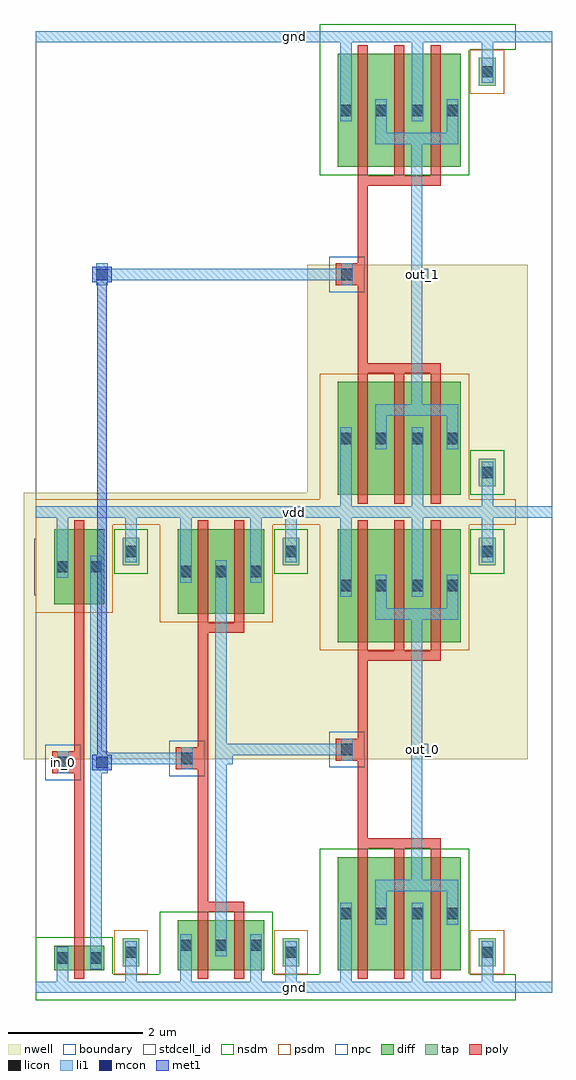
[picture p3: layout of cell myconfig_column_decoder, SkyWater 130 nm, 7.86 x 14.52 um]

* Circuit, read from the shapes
.subckt myconfig_column_decoder gnd in_0 out_0 out_1 vdd
XM1 myconfig_pinvbuf_0/myconfig_pinv_0_1/A in_0 gnd gnd sky130_fd_pr__nfet_01v8 w=0.36 l=0.15
XM2 myconfig_pinvbuf_0/myconfig_pinv_1_2/A myconfig_pinvbuf_0/myconfig_pinv_0_1/A gnd gnd sky130_fd_pr__nfet_01v8 w=0.74 l=0.15 m=2
XM3 out_0 myconfig_pinvbuf_0/myconfig_pinv_1_2/A gnd gnd sky130_fd_pr__nfet_01v8 w=1.68 l=0.15 m=3
XM4 out_1 myconfig_pinvbuf_0/myconfig_pinv_0_1/A gnd gnd sky130_fd_pr__nfet_01v8 w=1.68 l=0.15 m=3
XM5 myconfig_pinvbuf_0/myconfig_pinv_0_1/A in_0 vdd vdd sky130_fd_pr__pfet_01v8 w=1.12 l=0.15
XM6 myconfig_pinvbuf_0/myconfig_pinv_1_2/A myconfig_pinvbuf_0/myconfig_pinv_0_1/A vdd vdd sky130_fd_pr__pfet_01v8 w=1.26 l=0.15 m=2
XM7 out_0 myconfig_pinvbuf_0/myconfig_pinv_1_2/A vdd vdd sky130_fd_pr__pfet_01v8 w=1.68 l=0.15 m=3
XM8 out_1 myconfig_pinvbuf_0/myconfig_pinv_0_1/A vdd vdd sky130_fd_pr__pfet_01v8 w=1.68 l=0.15 m=3
.ends

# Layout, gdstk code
import gdstk
lib = gdstk.Library(unit=1e-6, precision=1e-09)
def R(c, l, rs):  # rectangles x0, y0, x1, y1
    for r in rs: c.add(gdstk.rectangle(r[:2], r[2:], *l))
def A(c, l, x, y, w, h, nx, ny, dx, dy):  # array of equal rectangles
    R(c, l, [(x+i*dx, y+j*dy, x+i*dx+w, y+j*dy+h) for i in range(nx) for j in range(ny)])
nwell = (64, 20)
diff = (65, 20)
tap = (65, 44)
poly = (66, 20)
licon = (66, 44)
li1 = (67, 20)
mcon = (67, 44)
met1 = (68, 20)
stdcell_id = (81, 4)
nsdm = (93, 44)
psdm = (94, 20)
npc = (95, 20)
boundary = (235, 4)

myconfig_contact_11 = lib.new_cell('myconfig_contact_11')
R(myconfig_contact_11, nwell, [(-0.295,-0.255,0.545,0.585)])
R(myconfig_contact_11, diff, [(0,0.02,0.25,0.31)])
R(myconfig_contact_11, licon, [(0.04,0.08,0.21,0.25)])
R(myconfig_contact_11, li1, [(0.04,0,0.21,0.33)])
R(myconfig_contact_11, stdcell_id, [(-0.295,-0.255,0.545,0.585)])
R(myconfig_contact_11, psdm, [(-0.125,-0.105,0.375,0.435)])
R(myconfig_contact_11, boundary, [(-0.295,-0.255,0.545,0.585)])

myconfig_pmos_m1_w1_120_ = lib.new_cell('myconfig_pmos_m1_w1_120_sli_dli_da_p')
R(myconfig_pmos_m1_w1_120_, nwell, [(-0.27,-0.27,1.02,1.39)])
R(myconfig_pmos_m1_w1_120_, diff, [(0,0,0.75,1.12)])
R(myconfig_pmos_m1_w1_120_, poly, [(0.3,-0.13,0.45,1.25), (0.3,-0.13,0.45,1.25)])
R(myconfig_pmos_m1_w1_120_, li1, [(0.04,0.395,0.21,0.725), (0.54,0.395,0.71,0.725)])
R(myconfig_pmos_m1_w1_120_, stdcell_id, [(-0.27,-0.27,1.02,1.39)])
R(myconfig_pmos_m1_w1_120_, psdm, [(-0.125,-0.125,0.875,1.245)])
R(myconfig_pmos_m1_w1_120_, boundary, [(-0.27,-0.27,1.02,1.39)])
myconfig_pmos_m1_w1_120_.add(gdstk.Reference(myconfig_contact_11, (0,0.395)))
myconfig_pmos_m1_w1_120_.add(gdstk.Reference(myconfig_contact_11, (0.5,0.395)))
myconfig_pmos_m1_w1_120_.add(gdstk.Label('G', (0.375,0.56), layer=66, texttype=5))
myconfig_pmos_m1_w1_120_.add(gdstk.Label('S', (0.125,0.56), layer=67, texttype=5))
myconfig_pmos_m1_w1_120_.add(gdstk.Label('D', (0.625,0.56), layer=67, texttype=5))

myconfig_contact_10 = lib.new_cell('myconfig_contact_10')
R(myconfig_contact_10, diff, [(0,0.02,0.25,0.31)])
R(myconfig_contact_10, licon, [(0.04,0.08,0.21,0.25)])
R(myconfig_contact_10, li1, [(0.04,0,0.21,0.33)])
R(myconfig_contact_10, stdcell_id, [(-0.125,-0.105,0.375,0.435)])
R(myconfig_contact_10, nsdm, [(-0.125,-0.105,0.375,0.435)])
R(myconfig_contact_10, boundary, [(-0.125,-0.105,0.375,0.435)])

myconfig_nmos_m1_w0_360_ = lib.new_cell('myconfig_nmos_m1_w0_360_sli_dli_da_p')
R(myconfig_nmos_m1_w0_360_, diff, [(0,0,0.75,0.36)])
R(myconfig_nmos_m1_w0_360_, poly, [(0.3,-0.13,0.45,0.49), (0.3,-0.13,0.45,0.49)])
R(myconfig_nmos_m1_w0_360_, li1, [(0.04,0.015,0.21,0.345), (0.54,0.015,0.71,0.345)])
R(myconfig_nmos_m1_w0_360_, stdcell_id, [(-0.125,-0.13,0.875,0.49)])
R(myconfig_nmos_m1_w0_360_, nsdm, [(-0.125,-0.125,0.875,0.485)])
R(myconfig_nmos_m1_w0_360_, boundary, [(-0.125,-0.13,0.875,0.49)])
myconfig_nmos_m1_w0_360_.add(gdstk.Reference(myconfig_contact_10, (0,0.015)))
myconfig_nmos_m1_w0_360_.add(gdstk.Reference(myconfig_contact_10, (0.5,0.015)))
myconfig_nmos_m1_w0_360_.add(gdstk.Label('G', (0.375,0.18), layer=66, texttype=5))
myconfig_nmos_m1_w0_360_.add(gdstk.Label('S', (0.125,0.18), layer=67, texttype=5))
myconfig_nmos_m1_w0_360_.add(gdstk.Label('D', (0.625,0.18), layer=67, texttype=5))

myconfig_contact_28 = lib.new_cell('myconfig_contact_28')
R(myconfig_contact_28, nwell, [(-0.295,-0.215,0.545,0.625)])
R(myconfig_contact_28, tap, [(0,0,0.25,0.41)])
R(myconfig_contact_28, licon, [(0.04,0.12,0.21,0.29)])
R(myconfig_contact_28, li1, [(0.04,0.04,0.21,0.37)])
R(myconfig_contact_28, stdcell_id, [(-0.295,-0.215,0.545,0.625)])
R(myconfig_contact_28, nsdm, [(-0.125,-0.125,0.375,0.535)])
R(myconfig_contact_28, boundary, [(-0.295,-0.215,0.545,0.625)])

myconfig_contact_29 = lib.new_cell('myconfig_contact_29')
R(myconfig_contact_29, tap, [(0,0,0.25,0.41)])
R(myconfig_contact_29, licon, [(0.04,0.12,0.21,0.29)])
R(myconfig_contact_29, li1, [(0.04,0.04,0.21,0.37)])
R(myconfig_contact_29, stdcell_id, [(-0.125,-0.125,0.375,0.535)])
R(myconfig_contact_29, psdm, [(-0.125,-0.125,0.375,0.535)])
R(myconfig_contact_29, boundary, [(-0.125,-0.125,0.375,0.535)])

myconfig_contact_15 = lib.new_cell('myconfig_contact_15')
R(myconfig_contact_15, poly, [(0,0,0.33,0.33)])
R(myconfig_contact_15, licon, [(0.08,0.08,0.25,0.25)])
R(myconfig_contact_15, li1, [(0.08,0,0.25,0.33)])
R(myconfig_contact_15, stdcell_id, [(-0.1,-0.1,0.43,0.43)])
R(myconfig_contact_15, npc, [(-0.1,-0.1,0.43,0.43)])
R(myconfig_contact_15, boundary, [(-0.1,-0.1,0.43,0.43)])

myconfig_pinv = lib.new_cell('myconfig_pinv')
R(myconfig_pinv, nwell, [(-0.18,3.395,2.02,7.355)])
R(myconfig_pinv, poly, [(0.57,0.745,0.72,5.565), (0.405,3.18,0.57,3.51)])
R(myconfig_pinv, li1, [(0,-0.085,1.84,0.085), (0.31,-0.085,0.48,0.27), (1.33,0,1.5,0.52), (0.81,0.27,0.98,6.42), (0.32,3.18,0.49,3.51), (0.895,3.26,1.065,3.43), (0.31,6.09,0.48,7.155), (1.33,6.485,1.5,7.07), (0,6.985,1.84,7.155)])
R(myconfig_pinv, stdcell_id, [(0,0,1.84,7.07), (0,0,1.84,7.07)])
R(myconfig_pinv, nsdm, [(0,-0.19,1.84,0.19), (0,0,1.145,0.74)])
R(myconfig_pinv, psdm, [(0,5.57,1.145,7.07), (0,6.88,1.84,7.26)])
R(myconfig_pinv, boundary, [(0,0,1.84,7.07), (0,0,1.84,7.07)])
myconfig_pinv.add(gdstk.Reference(myconfig_pmos_m1_w1_120_, (0.27,5.695)))
myconfig_pinv.add(gdstk.Reference(myconfig_nmos_m1_w0_360_, (0.27,0.255)))
myconfig_pinv.add(gdstk.Reference(myconfig_contact_28, (1.29,6.28)))
myconfig_pinv.add(gdstk.Reference(myconfig_contact_29, (1.29,0.315)))
myconfig_pinv.add(gdstk.Reference(myconfig_contact_15, (0.24,3.18)))
myconfig_pinv.add(gdstk.Label('A', (0.405,3.345), layer=67, texttype=5))
myconfig_pinv.add(gdstk.Label('Z', (0.98,3.345), layer=67, texttype=5))
myconfig_pinv.add(gdstk.Label('gnd', (0.92,0), layer=67, texttype=5))
myconfig_pinv.add(gdstk.Label('vdd', (0.92,7.07), layer=67, texttype=5))

myconfig_pmos_m2_w1_260_ = lib.new_cell('myconfig_pmos_m2_w1_260_sli_dli_da_p')
R(myconfig_pmos_m2_w1_260_, nwell, [(-0.27,-0.27,1.56,1.53)])
R(myconfig_pmos_m2_w1_260_, diff, [(0,0,1.29,1.26)])
R(myconfig_pmos_m2_w1_260_, poly, [(0.3,-0.28,0.99,-0.13), (0.3,-0.13,0.45,1.39), (0.84,-0.13,0.99,1.39)])
A(myconfig_pmos_m2_w1_260_, li1, 0.04, 0.465, 0.17, 0.33, 3, 1, 0.52, 0)
R(myconfig_pmos_m2_w1_260_, stdcell_id, [(-0.27,-0.28,1.56,1.53)])
R(myconfig_pmos_m2_w1_260_, psdm, [(-0.125,-0.125,1.415,1.385)])
R(myconfig_pmos_m2_w1_260_, boundary, [(-0.27,-0.28,1.56,1.53)])
myconfig_pmos_m2_w1_260_.add(gdstk.Reference(myconfig_contact_11, (0,0.465)))
myconfig_pmos_m2_w1_260_.add(gdstk.Reference(myconfig_contact_11, (0.52,0.465)))
myconfig_pmos_m2_w1_260_.add(gdstk.Reference(myconfig_contact_11, (1.04,0.465)))
myconfig_pmos_m2_w1_260_.add(gdstk.Label('G', (0.645,-0.205), layer=66, texttype=5))
myconfig_pmos_m2_w1_260_.add(gdstk.Label('S', (1.165,0.63), layer=67, texttype=5))
myconfig_pmos_m2_w1_260_.add(gdstk.Label('S', (0.125,0.63), layer=67, texttype=5))
myconfig_pmos_m2_w1_260_.add(gdstk.Label('D', (0.645,0.63), layer=67, texttype=5))

myconfig_nmos_m2_w0_740_ = lib.new_cell('myconfig_nmos_m2_w0_740_sli_dli_da_p')
R(myconfig_nmos_m2_w0_740_, diff, [(0,0,1.29,0.74)])
R(myconfig_nmos_m2_w0_740_, poly, [(0.3,-0.13,0.45,0.87), (0.84,-0.13,0.99,0.87), (0.3,0.87,0.99,1.02)])
A(myconfig_nmos_m2_w0_740_, li1, 0.04, 0.205, 0.17, 0.33, 3, 1, 0.52, 0)
R(myconfig_nmos_m2_w0_740_, stdcell_id, [(-0.125,-0.13,1.415,1.02)])
R(myconfig_nmos_m2_w0_740_, nsdm, [(-0.125,-0.125,1.415,0.865)])
R(myconfig_nmos_m2_w0_740_, boundary, [(-0.125,-0.13,1.415,1.02)])
myconfig_nmos_m2_w0_740_.add(gdstk.Reference(myconfig_contact_10, (0,0.205)))
myconfig_nmos_m2_w0_740_.add(gdstk.Reference(myconfig_contact_10, (0.52,0.205)))
myconfig_nmos_m2_w0_740_.add(gdstk.Reference(myconfig_contact_10, (1.04,0.205)))
myconfig_nmos_m2_w0_740_.add(gdstk.Label('G', (0.645,0.945), layer=66, texttype=5))
myconfig_nmos_m2_w0_740_.add(gdstk.Label('S', (0.125,0.37), layer=67, texttype=5))
myconfig_nmos_m2_w0_740_.add(gdstk.Label('S', (1.165,0.37), layer=67, texttype=5))
myconfig_nmos_m2_w0_740_.add(gdstk.Label('D', (0.645,0.37), layer=67, texttype=5))

myconfig_pinv_0 = lib.new_cell('myconfig_pinv_0')
R(myconfig_pinv_0, nwell, [(-0.18,3.395,2.56,7.355)])
R(myconfig_pinv_0, poly, [(0.57,1.275,0.72,5.275), (0.405,3.24,0.57,3.57)])
R(myconfig_pinv_0, li1, [(0,-0.085,2.38,0.085), (0.31,-0.085,0.48,0.46), (1.35,-0.085,1.52,0.46), (1.87,0,2.04,0.52), (0.83,0.46,1,6.35), (0.32,3.24,0.49,3.57), (0.915,3.32,1.085,3.49), (0.31,6.02,0.48,7.155), (1.35,6.02,1.52,7.155), (1.87,6.485,2.04,7.07), (0,6.985,2.38,7.155)])
R(myconfig_pinv_0, stdcell_id, [(0,0,2.38,7.07), (0,0,2.38,7.07)])
R(myconfig_pinv_0, nsdm, [(0,-0.19,2.38,0.19), (0,0,1.685,1.12)])
R(myconfig_pinv_0, psdm, [(0,5.43,1.685,7.07), (0,6.88,2.38,7.26)])
R(myconfig_pinv_0, boundary, [(0,0,2.38,7.07), (0,0,2.38,7.07)])
myconfig_pinv_0.add(gdstk.Reference(myconfig_pmos_m2_w1_260_, (0.27,5.555)))
myconfig_pinv_0.add(gdstk.Reference(myconfig_nmos_m2_w0_740_, (0.27,0.255)))
myconfig_pinv_0.add(gdstk.Reference(myconfig_contact_28, (1.83,6.28)))
myconfig_pinv_0.add(gdstk.Reference(myconfig_contact_29, (1.83,0.315)))
myconfig_pinv_0.add(gdstk.Reference(myconfig_contact_15, (0.24,3.24)))
myconfig_pinv_0.add(gdstk.Label('A', (0.405,3.405), layer=67, texttype=5))
myconfig_pinv_0.add(gdstk.Label('Z', (1,3.405), layer=67, texttype=5))
myconfig_pinv_0.add(gdstk.Label('gnd', (1.19,0), layer=67, texttype=5))
myconfig_pinv_0.add(gdstk.Label('vdd', (1.19,7.07), layer=67, texttype=5))

myconfig_pmos_m3_w1_680_ = lib.new_cell('myconfig_pmos_m3_w1_680_sli_dli_da_p')
R(myconfig_pmos_m3_w1_680_, nwell, [(-0.27,-0.27,2.1,1.95)])
R(myconfig_pmos_m3_w1_680_, diff, [(0,0,1.83,1.68)])
A(myconfig_pmos_m3_w1_680_, poly, 0.3, -0.13, 0.15, 1.94, 3, 1, 0.54, 0)
R(myconfig_pmos_m3_w1_680_, poly, [(0.3,-0.28,1.53,-0.13)])
R(myconfig_pmos_m3_w1_680_, li1, [(0.56,0.335,1.79,0.505), (0.56,0.42,0.73,0.84), (1.62,0.42,1.79,0.84), (0.04,0.675,0.21,1.005), (1.1,0.675,1.27,1.005)])
R(myconfig_pmos_m3_w1_680_, stdcell_id, [(-0.27,-0.28,2.1,1.95)])
R(myconfig_pmos_m3_w1_680_, psdm, [(-0.125,-0.125,1.955,1.805)])
R(myconfig_pmos_m3_w1_680_, boundary, [(-0.27,-0.28,2.1,1.95)])
myconfig_pmos_m3_w1_680_.add(gdstk.Reference(myconfig_contact_11, (0,0.675)))
myconfig_pmos_m3_w1_680_.add(gdstk.Reference(myconfig_contact_11, (0.52,0.675)))
myconfig_pmos_m3_w1_680_.add(gdstk.Reference(myconfig_contact_11, (1.06,0.675)))
myconfig_pmos_m3_w1_680_.add(gdstk.Reference(myconfig_contact_11, (1.58,0.675)))
myconfig_pmos_m3_w1_680_.add(gdstk.Label('G', (0.915,-0.205), layer=66, texttype=5))
myconfig_pmos_m3_w1_680_.add(gdstk.Label('S', (0.125,0.84), layer=67, texttype=5))
myconfig_pmos_m3_w1_680_.add(gdstk.Label('S', (1.185,0.84), layer=67, texttype=5))
myconfig_pmos_m3_w1_680_.add(gdstk.Label('D', (1.175,0.42), layer=67, texttype=5))

myconfig_nmos_m3_w1_680_ = lib.new_cell('myconfig_nmos_m3_w1_680_sli_dli_da_p')
R(myconfig_nmos_m3_w1_680_, diff, [(0,0,1.83,1.68)])
A(myconfig_nmos_m3_w1_680_, poly, 0.3, -0.13, 0.15, 1.94, 3, 1, 0.54, 0)
R(myconfig_nmos_m3_w1_680_, poly, [(0.3,1.81,1.53,1.96)])
R(myconfig_nmos_m3_w1_680_, li1, [(0.04,0.675,0.21,1.005), (1.1,0.675,1.27,1.005), (0.56,0.84,0.73,1.26), (1.62,0.84,1.79,1.26), (0.56,1.175,1.79,1.345)])
R(myconfig_nmos_m3_w1_680_, stdcell_id, [(-0.125,-0.13,1.955,1.96)])
R(myconfig_nmos_m3_w1_680_, nsdm, [(-0.125,-0.125,1.955,1.805)])
R(myconfig_nmos_m3_w1_680_, boundary, [(-0.125,-0.13,1.955,1.96)])
myconfig_nmos_m3_w1_680_.add(gdstk.Reference(myconfig_contact_10, (0,0.675)))
myconfig_nmos_m3_w1_680_.add(gdstk.Reference(myconfig_contact_10, (0.52,0.675)))
myconfig_nmos_m3_w1_680_.add(gdstk.Reference(myconfig_contact_10, (1.06,0.675)))
myconfig_nmos_m3_w1_680_.add(gdstk.Reference(myconfig_contact_10, (1.58,0.675)))
myconfig_nmos_m3_w1_680_.add(gdstk.Label('G', (0.915,1.885), layer=66, texttype=5))
myconfig_nmos_m3_w1_680_.add(gdstk.Label('S', (0.125,0.84), layer=67, texttype=5))
myconfig_nmos_m3_w1_680_.add(gdstk.Label('S', (1.185,0.84), layer=67, texttype=5))
myconfig_nmos_m3_w1_680_.add(gdstk.Label('D', (1.175,1.26), layer=67, texttype=5))

myconfig_pinv_1 = lib.new_cell('myconfig_pinv_1')
R(myconfig_pinv_1, nwell, [(-0.18,3.395,3.1,7.355)])
R(myconfig_pinv_1, poly, [(0.57,2.215,0.72,4.855), (0.405,3.37,0.57,3.7)])
R(myconfig_pinv_1, li1, [(0,-0.085,2.92,0.085), (0.31,-0.085,0.48,0.93), (1.37,-0.085,1.54,0.93), (2.41,0,2.58,0.52), (1.36,1.43,1.53,5.64), (0.32,3.37,0.49,3.7), (1.445,3.45,1.615,3.62), (0.31,5.81,0.48,7.155), (1.37,5.81,1.54,7.155), (2.41,6.485,2.58,7.07), (0,6.985,2.92,7.155)])
R(myconfig_pinv_1, stdcell_id, [(0,0,2.92,7.07), (0,0,2.92,7.07)])
R(myconfig_pinv_1, nsdm, [(0,-0.19,2.92,0.19), (0,0,2.225,2.06)])
R(myconfig_pinv_1, psdm, [(0,5.01,2.225,7.07), (0,6.88,2.92,7.26)])
R(myconfig_pinv_1, boundary, [(0,0,2.92,7.07), (0,0,2.92,7.07)])
myconfig_pinv_1.add(gdstk.Reference(myconfig_pmos_m3_w1_680_, (0.27,5.135)))
myconfig_pinv_1.add(gdstk.Reference(myconfig_nmos_m3_w1_680_, (0.27,0.255)))
myconfig_pinv_1.add(gdstk.Reference(myconfig_contact_28, (2.37,6.28)))
myconfig_pinv_1.add(gdstk.Reference(myconfig_contact_29, (2.37,0.315)))
myconfig_pinv_1.add(gdstk.Reference(myconfig_contact_15, (0.24,3.37)))
myconfig_pinv_1.add(gdstk.Label('A', (0.405,3.535), layer=67, texttype=5))
myconfig_pinv_1.add(gdstk.Label('Z', (1.53,3.535), layer=67, texttype=5))
myconfig_pinv_1.add(gdstk.Label('gnd', (1.46,0), layer=67, texttype=5))
myconfig_pinv_1.add(gdstk.Label('vdd', (1.46,7.07), layer=67, texttype=5))

myconfig_contact_13 = lib.new_cell('myconfig_contact_13')
R(myconfig_contact_13, li1, [(0.06,0,0.23,0.33)])
R(myconfig_contact_13, mcon, [(0.06,0.08,0.23,0.25)])
R(myconfig_contact_13, met1, [(0,0.05,0.29,0.28)])
R(myconfig_contact_13, stdcell_id, [(0,0,0.29,0.33)])
R(myconfig_contact_13, boundary, [(0,0,0.29,0.33)])

myconfig_pinvbuf = lib.new_cell('myconfig_pinvbuf')
A(myconfig_pinvbuf, li1, 0, 0, 7.68, 0.17, 1, 3, 0, 7.07)
R(myconfig_pinvbuf, li1, [(0.32,3.345,0.49,3.515), (0.895,3.405,1.065,3.575), (0.98,3.405,2.245,3.575), (2.16,3.405,2.33,3.575), (0.895,3.43,1.065,3.49), (2.755,3.49,2.925,3.62), (2.755,3.535,2.925,3.705), (2.84,3.535,4.625,3.705), (4.54,3.535,4.71,3.705), (5.665,3.535,5.835,3.705), (0.98,10.605,4.625,10.775), (5.665,10.605,5.835,10.775)])
R(myconfig_pinvbuf, met1, [(0.91,3.43,1.05,10.69)])
R(myconfig_pinvbuf, stdcell_id, [(0,0,7.68,14.14), (0,0.085,7.68,14.225)])
R(myconfig_pinvbuf, boundary, [(0,0,7.68,14.14), (0,0.085,7.68,14.225)])
myconfig_pinvbuf.add(gdstk.Reference(myconfig_pinv, (0,0.085)))
myconfig_pinvbuf.add(gdstk.Reference(myconfig_pinv_0, (1.84,0.085)))
myconfig_pinvbuf.add(gdstk.Reference(myconfig_pinv_1, (4.22,0.085)))
myconfig_pinvbuf.add(gdstk.Reference(myconfig_pinv_1, (4.22,14.225), x_reflection=True))
myconfig_pinvbuf.add(gdstk.Reference(myconfig_contact_13, (0.835,10.525)))
myconfig_pinvbuf.add(gdstk.Reference(myconfig_contact_13, (0.835,3.265)))
myconfig_pinvbuf.add(gdstk.Label('vdd', (3.84,7.155), layer=67, texttype=5))
myconfig_pinvbuf.add(gdstk.Label('gnd', (3.84,0.085), layer=67, texttype=5))
myconfig_pinvbuf.add(gdstk.Label('gnd', (3.84,14.225), layer=67, texttype=5))
myconfig_pinvbuf.add(gdstk.Label('Z', (5.75,10.69), layer=67, texttype=5))
myconfig_pinvbuf.add(gdstk.Label('Zb', (5.75,3.62), layer=67, texttype=5))
myconfig_pinvbuf.add(gdstk.Label('A', (0.405,3.43), layer=67, texttype=5))

myconfig_column_decoder = lib.new_cell('myconfig_column_decoder')
A(myconfig_column_decoder, li1, 0, 0, 7.68, 0.17, 1, 3, 0, 7.07)
R(myconfig_column_decoder, li1, [(0.32,3.345,0.49,3.515), (5.665,3.535,5.835,3.705), (5.665,10.605,5.835,10.775)])
R(myconfig_column_decoder, stdcell_id, [(0,0,7.68,14.31)])
R(myconfig_column_decoder, boundary, [(0,0,7.68,14.31)])
myconfig_column_decoder.add(gdstk.Reference(myconfig_pinvbuf, (0,0)))
myconfig_column_decoder.add(gdstk.Label('in_0', (0.405,3.43), layer=67, texttype=5))
myconfig_column_decoder.add(gdstk.Label('out_0', (5.75,3.62), layer=67, texttype=5))
myconfig_column_decoder.add(gdstk.Label('out_1', (5.75,10.69), layer=67, texttype=5))
myconfig_column_decoder.add(gdstk.Label('vdd', (3.84,7.155), layer=67, texttype=5))
myconfig_column_decoder.add(gdstk.Label('gnd', (3.84,0.085), layer=67, texttype=5))
myconfig_column_decoder.add(gdstk.Label('gnd', (3.84,14.225), layer=67, texttype=5))

lib.write_gds('myconfig_column_decoder.gds')
